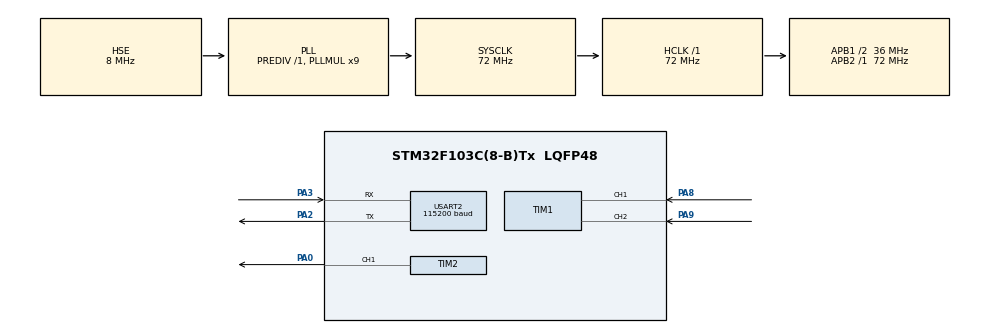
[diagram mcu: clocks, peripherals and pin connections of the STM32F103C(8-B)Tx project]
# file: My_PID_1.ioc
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Dma.Request0=USART2_RX
Dma.Request1=USART2_TX
Dma.USART2_RX.0.Direction=DMA_PERIPH_TO_MEMORY
Dma.USART2_RX.0.Instance=DMA1_Channel6
Dma.USART2_RX.0.MemDataAlignment=DMA_MDATAALIGN_BYTE
Dma.USART2_RX.0.MemInc=DMA_MINC_ENABLE
Dma.USART2_RX.0.Mode=DMA_NORMAL
Dma.USART2_RX.0.PeriphDataAlignment=DMA_PDATAALIGN_BYTE
Dma.USART2_RX.0.PeriphInc=DMA_PINC_DISABLE
Dma.USART2_RX.0.Priority=DMA_PRIORITY_LOW
Dma.USART2_TX.1.Direction=DMA_MEMORY_TO_PERIPH
Dma.USART2_TX.1.Instance=DMA1_Channel7
Dma.USART2_TX.1.MemDataAlignment=DMA_MDATAALIGN_BYTE
Dma.USART2_TX.1.MemInc=DMA_MINC_ENABLE
Dma.USART2_TX.1.Mode=DMA_NORMAL
Dma.USART2_TX.1.PeriphDataAlignment=DMA_PDATAALIGN_BYTE
Dma.USART2_TX.1.PeriphInc=DMA_PINC_DISABLE
Dma.USART2_TX.1.Priority=DMA_PRIORITY_LOW
Mcu.Family=STM32F1
Mcu.Name=STM32F103C(8-B)Tx
Mcu.Package=LQFP48
NVIC.DMA1_Channel6_IRQn=true\:0\:0\:false\:false\:true\:false\:true
NVIC.DMA1_Channel7_IRQn=true\:0\:0\:false\:false\:true\:false\:true
NVIC.PriorityGroup=NVIC_PRIORITYGROUP_4
NVIC.TIM3_IRQn=true\:0\:0\:false\:false\:true\:true\:true
NVIC.USART2_IRQn=true\:0\:0\:false\:false\:true\:true\:true
PA0-WKUP.Signal=S_TIM2_CH1_ETR
PA13.Mode=Serial_Wire
PA13.Signal=SYS_JTMS-SWDIO
PA14.Mode=Serial_Wire
PA14.Signal=SYS_JTCK-SWCLK
PA2.Mode=Asynchronous
PA2.Signal=USART2_TX
PA3.Mode=Asynchronous
PA3.Signal=USART2_RX
PA8.Signal=S_TIM1_CH1
PA9.Signal=S_TIM1_CH2
PD0-OSC_IN.Mode=HSE-External-Oscillator
PD0-OSC_IN.Signal=RCC_OSC_IN
PD1-OSC_OUT.Mode=HSE-External-Oscillator
PD1-OSC_OUT.Signal=RCC_OSC_OUT
ProjectManager.HeapSize=0x200
ProjectManager.StackSize=0x400
ProjectManager.TargetToolchain=MDK-ARM V5.32
RCC.AHBFreq_Value=72000000
RCC.APB1CLKDivider=RCC_HCLK_DIV2
RCC.APB1Freq_Value=36000000
RCC.APB1TimFreq_Value=72000000
RCC.APB2Freq_Value=72000000
RCC.APB2TimFreq_Value=72000000
RCC.HCLKFreq_Value=72000000
RCC.PLLMUL=RCC_PLL_MUL9
RCC.PLLSourceVirtual=RCC_PLLSOURCE_HSE
RCC.SYSCLKFreq_VALUE=72000000
RCC.SYSCLKSource=RCC_SYSCLKSOURCE_PLLCLK
RCC.USBFreq_Value=72000000
SH.S_TIM1_CH1.0=TIM1_CH1,Encoder_Interface
SH.S_TIM1_CH2.0=TIM1_CH2,Encoder_Interface
SH.S_TIM2_CH1_ETR.0=TIM2_CH1,PWM Generation1 CH1
TIM1.EncoderMode=TIM_ENCODERMODE_TI12
TIM2.Channel-PWM\ Generation1\ CH1=TIM_CHANNEL_1
TIM2.Period=100-1
TIM2.Prescaler=72-1
TIM3.Period=1000-1
TIM3.Prescaler=720-1
USART2.BaudRate=115200
USART2.VirtualMode=VM_ASYNC
VP_TIM3_VS_ClockSourceINT.Mode=Internal
board=custom

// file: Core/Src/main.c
/* USER CODE BEGIN Header */
/**
  ******************************************************************************
  * @file           : main.c
  * @brief          : Main program body
  ******************************************************************************
  * @attention
  *
  * <h2><center>&copy; Copyright (c) 2026 STMicroelectronics.
  * All rights reserved.</center></h2>
  *
  * This software component is licensed by ST under BSD 3-Clause license,
  * the "License"; You may not use this file except in compliance with the
  * License. You may obtain a copy of the License at:
  *                        opensource.org/licenses/BSD-3-Clause
  *
  ******************************************************************************
  */
/* USER CODE END Header */
#include "main.h"
#include "dma.h"
#include "tim.h"
#include "usart.h"
#include "gpio.h"

/* USER CODE BEGIN Includes */
#include "command.h"
#include "pid.h"
/* USER CODE END Includes */

/* USER CODE BEGIN PV */
volatile uint16_t count_prev = 0;
volatile int16_t rpm = 0;
volatile uint16_t motor_pwm = 0;

uint8_t receiveData[50];
/* USER CODE END PV */

void SystemClock_Config(void);

/* USER CODE BEGIN 0 */
void HAL_UARTEx_RxEventCallback(UART_HandleTypeDef *huart, uint16_t Size){
	if(huart == &huart2)
	{
		VOFA_RxWrite(receiveData, Size);

		HAL_UARTEx_ReceiveToIdle_DMA(&huart2,receiveData,sizeof(receiveData));
		__HAL_DMA_DISABLE_IT(&hdma_usart2_rx,DMA_IT_HT);

	}
}

/* USER CODE END 0 */

int main(void)
{

  /* MCU Configuration--------------------------------------------------------*/

  /* Reset of all peripherals, Initializes the Flash interface and the Systick. */
  HAL_Init();

  /* Configure the system clock */
  SystemClock_Config();

  /* Initialize all configured peripherals */
  MX_GPIO_Init();
  MX_TIM1_Init();
  MX_TIM2_Init();
  MX_DMA_Init();
  MX_USART2_UART_Init();
  MX_TIM3_Init();
  /* USER CODE BEGIN 2 */
  __HAL_TIM_SET_COMPARE(&htim2, TIM_CHANNEL_1, 0);
  HAL_TIM_PWM_Start(&htim2, TIM_CHANNEL_1);
  HAL_TIM_Encoder_Start(&htim1, TIM_CHANNEL_ALL);
  PID_Init(&motor_pid, 0.30f, 0.30f, 0.01f);
  HAL_UARTEx_ReceiveToIdle_DMA(&huart2,receiveData,sizeof(receiveData));
  __HAL_DMA_DISABLE_IT(&hdma_usart2_rx,DMA_IT_HT);

  motor_pid.target = 100.0f;
  count_prev = (uint16_t)__HAL_TIM_GET_COUNTER(&htim1);
  HAL_TIM_Base_Start_IT(&htim3);

  /* USER CODE END 2 */

  /* Infinite loop */
  while (1)
  {

    /* USER CODE BEGIN 3 */
	VOFA_Process();
	VOFA_SendTelemetry();
  }
  /* USER CODE END 3 */
}

void SystemClock_Config(void)
{
  RCC_OscInitTypeDef RCC_OscInitStruct = {0};
  RCC_ClkInitTypeDef RCC_ClkInitStruct = {0};

  /** Initializes the RCC Oscillators according to the specified parameters
  * in the RCC_OscInitTypeDef structure.
  */
  RCC_OscInitStruct.OscillatorType = RCC_OSCILLATORTYPE_HSE;
  RCC_OscInitStruct.HSEState = RCC_HSE_ON;
  RCC_OscInitStruct.HSEPredivValue = RCC_HSE_PREDIV_DIV1;
  RCC_OscInitStruct.HSIState = RCC_HSI_ON;
  RCC_OscInitStruct.PLL.PLLState = RCC_PLL_ON;
  RCC_OscInitStruct.PLL.PLLSource = RCC_PLLSOURCE_HSE;
  RCC_OscInitStruct.PLL.PLLMUL = RCC_PLL_MUL9;
  if (HAL_RCC_OscConfig(&RCC_OscInitStruct) != HAL_OK)
  {
    Error_Handler();
  }
  /** Initializes the CPU, AHB and APB buses clocks
  */
  RCC_ClkInitStruct.ClockType = RCC_CLOCKTYPE_HCLK|RCC_CLOCKTYPE_SYSCLK
                              |RCC_CLOCKTYPE_PCLK1|RCC_CLOCKTYPE_PCLK2;
  RCC_ClkInitStruct.SYSCLKSource = RCC_SYSCLKSOURCE_PLLCLK;
  RCC_ClkInitStruct.AHBCLKDivider = RCC_SYSCLK_DIV1;
  RCC_ClkInitStruct.APB1CLKDivider = RCC_HCLK_DIV2;
  RCC_ClkInitStruct.APB2CLKDivider = RCC_HCLK_DIV1;

  if (HAL_RCC_ClockConfig(&RCC_ClkInitStruct, FLASH_LATENCY_2) != HAL_OK)
  {
    Error_Handler();
  }
}

void Error_Handler(void)
{
  __disable_irq();
  while (1)
  {
  }
}

/************************ (C) COPYRIGHT STMicroelectronics *****END OF FILE****/
